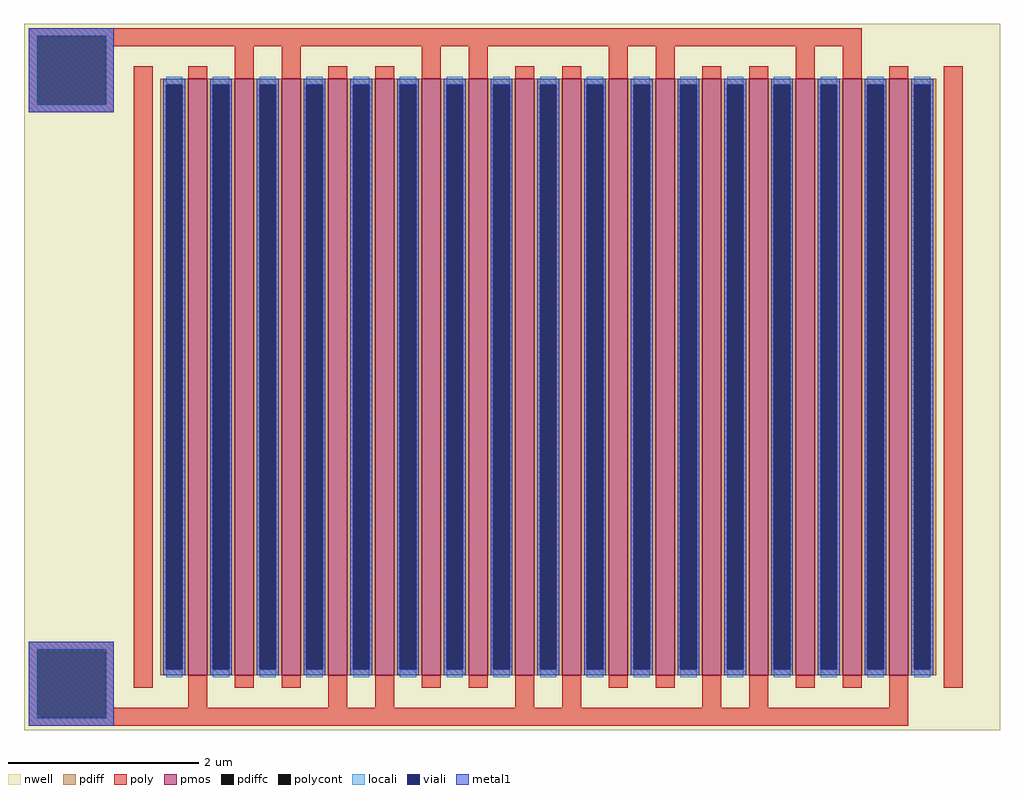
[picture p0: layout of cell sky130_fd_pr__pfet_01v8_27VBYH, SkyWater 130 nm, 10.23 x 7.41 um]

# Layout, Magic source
magic
tech sky130A
magscale 1 2
<< nwell >>
rect -1099 -741 947 741
<< pmos >>
rect -755 -625 -715 625
rect -657 -625 -617 625
rect -559 -625 -519 625
rect -461 -625 -421 625
rect -363 -625 -323 625
rect -265 -625 -225 625
rect -167 -625 -127 625
rect -69 -625 -29 625
rect 29 -625 69 625
rect 127 -625 167 625
rect 225 -625 265 625
rect 323 -625 363 625
rect 421 -625 461 625
rect 519 -625 559 625
rect 617 -625 657 625
rect 715 -625 755 625
<< pdiff >>
rect -813 613 -755 625
rect -813 -613 -801 613
rect -767 -613 -755 613
rect -813 -625 -755 -613
rect -715 613 -657 625
rect -715 -613 -703 613
rect -669 -613 -657 613
rect -715 -625 -657 -613
rect -617 613 -559 625
rect -617 -613 -605 613
rect -571 -613 -559 613
rect -617 -625 -559 -613
rect -519 613 -461 625
rect -519 -613 -507 613
rect -473 -613 -461 613
rect -519 -625 -461 -613
rect -421 613 -363 625
rect -421 -613 -409 613
rect -375 -613 -363 613
rect -421 -625 -363 -613
rect -323 613 -265 625
rect -323 -613 -311 613
rect -277 -613 -265 613
rect -323 -625 -265 -613
rect -225 613 -167 625
rect -225 -613 -213 613
rect -179 -613 -167 613
rect -225 -625 -167 -613
rect -127 613 -69 625
rect -127 -613 -115 613
rect -81 -613 -69 613
rect -127 -625 -69 -613
rect -29 613 29 625
rect -29 -613 -17 613
rect 17 -613 29 613
rect -29 -625 29 -613
rect 69 613 127 625
rect 69 -613 81 613
rect 115 -613 127 613
rect 69 -625 127 -613
rect 167 613 225 625
rect 167 -613 179 613
rect 213 -613 225 613
rect 167 -625 225 -613
rect 265 613 323 625
rect 265 -613 277 613
rect 311 -613 323 613
rect 265 -625 323 -613
rect 363 613 421 625
rect 363 -613 375 613
rect 409 -613 421 613
rect 363 -625 421 -613
rect 461 613 519 625
rect 461 -613 473 613
rect 507 -613 519 613
rect 461 -625 519 -613
rect 559 613 617 625
rect 559 -613 571 613
rect 605 -613 617 613
rect 559 -625 617 -613
rect 657 613 715 625
rect 657 -613 669 613
rect 703 -613 715 613
rect 657 -625 715 -613
rect 755 613 813 625
rect 755 -613 767 613
rect 801 -613 813 613
rect 755 -625 813 -613
<< pdiffc >>
rect -801 -613 -767 613
rect -703 -613 -669 613
rect -605 -613 -571 613
rect -507 -613 -473 613
rect -409 -613 -375 613
rect -311 -613 -277 613
rect -213 -613 -179 613
rect -115 -613 -81 613
rect -17 -613 17 613
rect 81 -613 115 613
rect 179 -613 213 613
rect 277 -613 311 613
rect 375 -613 409 613
rect 473 -613 507 613
rect 571 -613 605 613
rect 669 -613 703 613
rect 767 -613 801 613
<< poly >>
rect -1089 715 657 731
rect -1089 571 -1071 715
rect -927 693 657 715
rect -927 571 -911 693
rect -1089 555 -911 571
rect -1089 -571 -911 -555
rect -1089 -715 -1071 -571
rect -927 -693 -911 -571
rect -869 -651 -829 651
rect -755 625 -715 651
rect -657 625 -617 693
rect -559 625 -519 693
rect -461 625 -421 651
rect -363 625 -323 651
rect -265 625 -225 693
rect -167 625 -127 693
rect -69 625 -29 651
rect 29 625 69 651
rect 127 625 167 693
rect 225 625 265 693
rect 323 625 363 651
rect 421 625 461 651
rect 519 625 559 693
rect 617 625 657 693
rect 715 625 755 651
rect -755 -693 -715 -625
rect -657 -651 -617 -625
rect -559 -651 -519 -625
rect -461 -693 -421 -625
rect -363 -693 -323 -625
rect -265 -651 -225 -625
rect -167 -651 -127 -625
rect -69 -693 -29 -625
rect 29 -693 69 -625
rect 127 -651 167 -625
rect 225 -651 265 -625
rect 323 -693 363 -625
rect 421 -693 461 -625
rect 519 -651 559 -625
rect 617 -651 657 -625
rect 715 -693 755 -625
rect 829 -651 869 651
rect -927 -715 755 -693
rect -1089 -731 755 -715
<< polycont >>
rect -1071 571 -927 715
rect -1071 -715 -927 -571
<< locali >>
rect -1089 715 -911 731
rect -1089 571 -1071 715
rect -927 571 -911 715
rect -1089 555 -911 571
rect -801 613 -767 629
rect -1089 -571 -911 -555
rect -1089 -715 -1071 -571
rect -927 -715 -911 -571
rect -801 -629 -767 -613
rect -703 613 -669 629
rect -703 -629 -669 -613
rect -605 613 -571 629
rect -605 -629 -571 -613
rect -507 613 -473 629
rect -507 -629 -473 -613
rect -409 613 -375 629
rect -409 -629 -375 -613
rect -311 613 -277 629
rect -311 -629 -277 -613
rect -213 613 -179 629
rect -213 -629 -179 -613
rect -115 613 -81 629
rect -115 -629 -81 -613
rect -17 613 17 629
rect -17 -629 17 -613
rect 81 613 115 629
rect 81 -629 115 -613
rect 179 613 213 629
rect 179 -629 213 -613
rect 277 613 311 629
rect 277 -629 311 -613
rect 375 613 409 629
rect 375 -629 409 -613
rect 473 613 507 629
rect 473 -629 507 -613
rect 571 613 605 629
rect 571 -629 605 -613
rect 669 613 703 629
rect 669 -629 703 -613
rect 767 613 801 629
rect 767 -629 801 -613
rect -1089 -731 -911 -715
<< viali >>
rect -801 -613 -767 613
rect -703 -613 -669 613
rect -605 -613 -571 613
rect -507 -613 -473 613
rect -409 -613 -375 613
rect -311 -613 -277 613
rect -213 -613 -179 613
rect -115 -613 -81 613
rect -17 -613 17 613
rect 81 -613 115 613
rect 179 -613 213 613
rect 277 -613 311 613
rect 375 -613 409 613
rect 473 -613 507 613
rect 571 -613 605 613
rect 669 -613 703 613
rect 767 -613 801 613
<< metal1 >>
rect -1089 555 -911 731
rect -807 613 -761 625
rect -1089 -731 -911 -555
rect -807 -613 -801 613
rect -767 -613 -761 613
rect -807 -625 -761 -613
rect -709 613 -663 625
rect -709 -613 -703 613
rect -669 -613 -663 613
rect -709 -625 -663 -613
rect -611 613 -565 625
rect -611 -613 -605 613
rect -571 -613 -565 613
rect -611 -625 -565 -613
rect -513 613 -467 625
rect -513 -613 -507 613
rect -473 -613 -467 613
rect -513 -625 -467 -613
rect -415 613 -369 625
rect -415 -613 -409 613
rect -375 -613 -369 613
rect -415 -625 -369 -613
rect -317 613 -271 625
rect -317 -613 -311 613
rect -277 -613 -271 613
rect -317 -625 -271 -613
rect -219 613 -173 625
rect -219 -613 -213 613
rect -179 -613 -173 613
rect -219 -625 -173 -613
rect -121 613 -75 625
rect -121 -613 -115 613
rect -81 -613 -75 613
rect -121 -625 -75 -613
rect -23 613 23 625
rect -23 -613 -17 613
rect 17 -613 23 613
rect -23 -625 23 -613
rect 75 613 121 625
rect 75 -613 81 613
rect 115 -613 121 613
rect 75 -625 121 -613
rect 173 613 219 625
rect 173 -613 179 613
rect 213 -613 219 613
rect 173 -625 219 -613
rect 271 613 317 625
rect 271 -613 277 613
rect 311 -613 317 613
rect 271 -625 317 -613
rect 369 613 415 625
rect 369 -613 375 613
rect 409 -613 415 613
rect 369 -625 415 -613
rect 467 613 513 625
rect 467 -613 473 613
rect 507 -613 513 613
rect 467 -625 513 -613
rect 565 613 611 625
rect 565 -613 571 613
rect 605 -613 611 613
rect 565 -625 611 -613
rect 663 613 709 625
rect 663 -613 669 613
rect 703 -613 709 613
rect 663 -625 709 -613
rect 761 613 807 625
rect 761 -613 767 613
rect 801 -613 807 613
rect 761 -625 807 -613
<< properties >>
string gencell sky130_fd_pr__pfet_01v8
string library sky130
string parameters w 6.25 l 0.2 m 1 nf 16 diffcov 100 polycov 100 guard 0 glc 1 grc 1 gtc 1 gbc 1 tbcov 100 rlcov 100 topc 0 botc 0 poverlap 0 doverlap 1 lmin 0.15 wmin 0.42 compatible {sky130_fd_pr__pfet_01v8  sky130_fd_pr__pfet_01v8_lvt sky130_fd_pr__pfet_01v8_hvt  sky130_fd_pr__pfet_g5v0d10v5} full_metal 1 viasrc 100 viadrn 100 viagate 100 viagb 0 viagr 0 viagl 0 viagt 0
<< end >>
